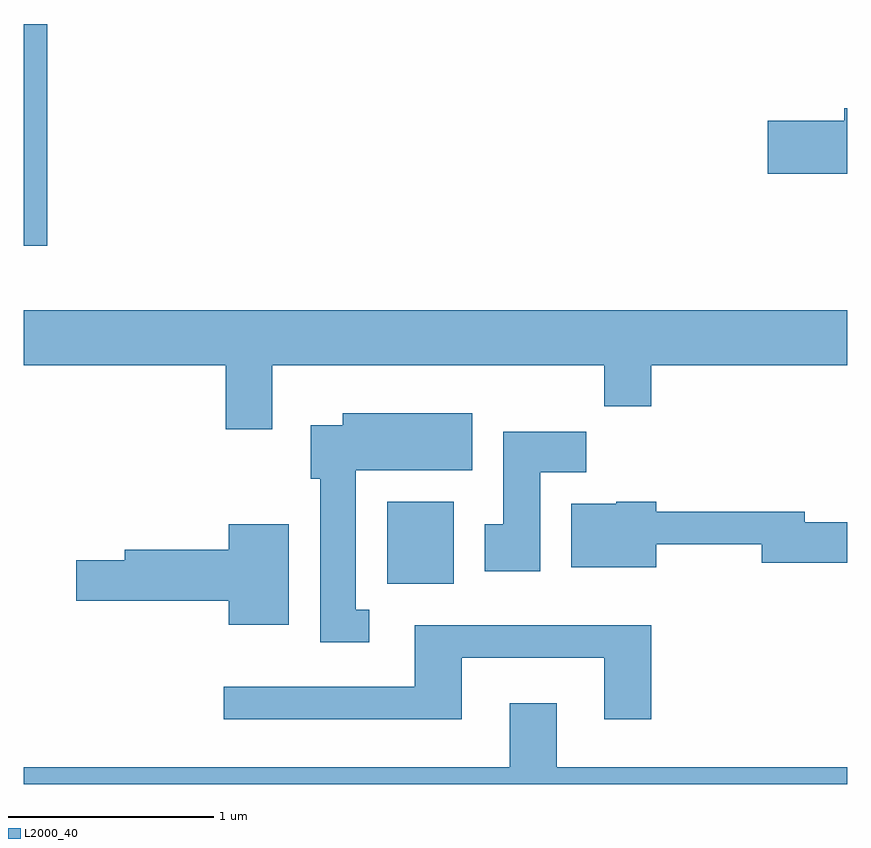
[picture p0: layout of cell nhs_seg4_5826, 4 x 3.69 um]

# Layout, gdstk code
import gdstk
lib = gdstk.Library(unit=1e-6, precision=1e-09)
def R(c, l, rs):  # rectangles x0, y0, x1, y1
    for r in rs: c.add(gdstk.rectangle(r[:2], r[2:], *l))
def P(c, l, *ps):  # polygons
    for p in ps: c.add(gdstk.Polygon(p, *l))
L2000_40 = (2000, 40)

nhs_seg4_5826 = lib.new_cell('nhs_seg4_5826')
R(nhs_seg4_5826, L2000_40, [(357.376,1346.956,357.699,1347.354), (355.611,1348.596,355.724,1349.674)])
P(nhs_seg4_5826, L2000_40, [(359.611,1349.264),(359.596,1349.264),(359.596,1349.204),(359.226,1349.204),(359.226,1348.946),(359.611,1348.946)],
  [(356.819,1348.016),(358.431,1348.016),(358.431,1347.816),(358.659,1347.816),(358.659,1348.016),(359.611,1348.016),(359.611,1348.284),(355.611,1348.284),(355.611,1348.016),(356.591,1348.016),(356.591,1347.706),(356.819,1347.706)],
  [(357.288,1346.829),(357.224,1346.829),(357.224,1347.506),(357.789,1347.506),(357.789,1347.784),(357.161,1347.784),(357.161,1347.724),(357.006,1347.724),(357.006,1347.466),(357.051,1347.466),(357.051,1346.671),(357.288,1346.671)],
  [(358.119,1347.496),(358.344,1347.496),(358.344,1347.694),(357.941,1347.694),(357.941,1347.244),(357.851,1347.244),(357.851,1347.016),(358.119,1347.016)],
  [(358.684,1347.146),(359.196,1347.146),(359.196,1347.056),(359.611,1347.056),(359.611,1347.254),(359.404,1347.254),(359.404,1347.304),(358.684,1347.304),(358.684,1347.354),(358.49,1347.354),(358.49,1347.344),(358.271,1347.344),(358.271,1347.036),(358.684,1347.036)],
  [(356.899,1347.244),(356.606,1347.244),(356.606,1347.119),(356.101,1347.119),(356.101,1347.069),(355.866,1347.069),(355.866,1346.871),(356.606,1346.871),(356.606,1346.756),(356.899,1346.756)],
  [(357.739,1346.596),(358.431,1346.596),(358.431,1346.296),(358.659,1346.296),(358.659,1346.754),(357.511,1346.754),(357.511,1346.454),(356.583,1346.454),(356.583,1346.296),(357.739,1346.296)],
  [(359.611,1346.064),(358.199,1346.064),(358.199,1346.374),(357.971,1346.374),(357.971,1346.064),(355.611,1346.064),(355.611,1345.982),(359.611,1345.982)])

lib.write_gds('nhs_seg4_5826.gds')
